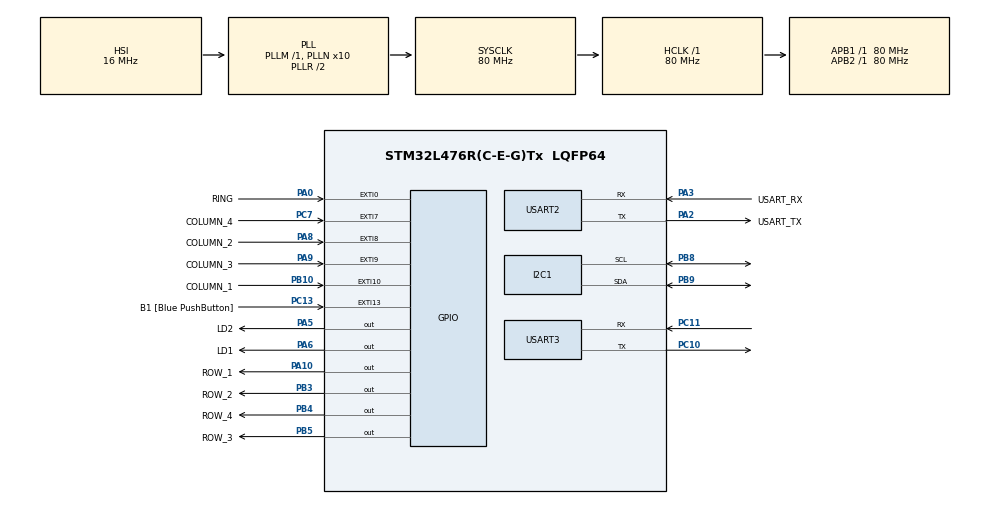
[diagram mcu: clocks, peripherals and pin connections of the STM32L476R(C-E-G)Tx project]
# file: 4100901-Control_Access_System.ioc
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I2C1.Timing=0x10D19CE4
Mcu.Family=STM32L4
Mcu.Name=STM32L476R(C-E-G)Tx
Mcu.Package=LQFP64
NVIC.EXTI0_IRQn=true\:0\:0\:false\:false\:true\:true\:true\:true
NVIC.EXTI15_10_IRQn=true\:1\:0\:true\:false\:true\:true\:true\:true
NVIC.EXTI9_5_IRQn=true\:1\:0\:true\:false\:true\:true\:true\:true
NVIC.PriorityGroup=NVIC_PRIORITYGROUP_4
NVIC.USART2_IRQn=true\:0\:0\:false\:false\:true\:true\:true\:true
NVIC.USART3_IRQn=true\:0\:0\:false\:false\:true\:true\:true\:true
PA0.GPIO_Label=RING
PA0.GPIO_PuPd=GPIO_PULLDOWN
PA0.Signal=GPXTI0
PA10.GPIO_Label=ROW_1
PA10.GPIO_ModeDefaultOutputPP=GPIO_MODE_OUTPUT_OD
PA10.GPIO_PuPd=GPIO_NOPULL
PA10.GPIO_Speed=GPIO_SPEED_FREQ_VERY_HIGH
PA10.PinState=GPIO_PIN_RESET
PA10.Signal=GPIO_Output
PA13\ (JTMS-SWDIO).GPIO_Label=TMS
PA13\ (JTMS-SWDIO).Mode=Serial_Wire
PA13\ (JTMS-SWDIO).Signal=SYS_JTMS-SWDIO
PA14\ (JTCK-SWCLK).GPIO_Label=TCK
PA14\ (JTCK-SWCLK).Mode=Serial_Wire
PA14\ (JTCK-SWCLK).Signal=SYS_JTCK-SWCLK
PA2.GPIO_Label=USART_TX
PA2.GPIO_Mode=GPIO_MODE_AF_PP
PA2.GPIO_PuPd=GPIO_NOPULL
PA2.GPIO_Speed=GPIO_SPEED_FREQ_VERY_HIGH
PA2.Mode=Asynchronous
PA2.Signal=USART2_TX
PA3.GPIO_Label=USART_RX
PA3.GPIO_Mode=GPIO_MODE_AF_PP
PA3.GPIO_PuPd=GPIO_NOPULL
PA3.GPIO_Speed=GPIO_SPEED_FREQ_VERY_HIGH
PA3.Mode=Asynchronous
PA3.Signal=USART2_RX
PA5.GPIO_Label=LD2
PA5.GPIO_ModeDefaultOutputPP=GPIO_MODE_OUTPUT_PP
PA5.GPIO_PuPd=GPIO_NOPULL
PA5.GPIO_Speed=GPIO_SPEED_FREQ_LOW
PA5.Signal=GPIO_Output
PA6.GPIO_Label=LD1
PA6.Signal=GPIO_Output
PA8.GPIO_Label=COLUMN_2
PA8.GPIO_ModeDefaultEXTI=GPIO_MODE_IT_FALLING
PA8.GPIO_PuPd=GPIO_PULLUP
PA8.Signal=GPXTI8
PA9.GPIO_Label=COLUMN_3
PA9.GPIO_ModeDefaultEXTI=GPIO_MODE_IT_FALLING
PA9.GPIO_PuPd=GPIO_PULLUP
PA9.Signal=GPXTI9
PB10.GPIO_Label=COLUMN_1
PB10.GPIO_ModeDefaultEXTI=GPIO_MODE_IT_FALLING
PB10.GPIO_PuPd=GPIO_PULLUP
PB10.Signal=GPXTI10
PB3\ (JTDO-TRACESWO).GPIO_Label=ROW_2
PB3\ (JTDO-TRACESWO).GPIO_ModeDefaultOutputPP=GPIO_MODE_OUTPUT_OD
PB3\ (JTDO-TRACESWO).GPIO_PuPd=GPIO_NOPULL
PB3\ (JTDO-TRACESWO).GPIO_Speed=GPIO_SPEED_FREQ_VERY_HIGH
PB3\ (JTDO-TRACESWO).PinState=GPIO_PIN_RESET
PB3\ (JTDO-TRACESWO).Signal=GPIO_Output
PB4\ (NJTRST).GPIO_Label=ROW_4
PB4\ (NJTRST).GPIO_ModeDefaultOutputPP=GPIO_MODE_OUTPUT_OD
PB4\ (NJTRST).GPIO_PuPd=GPIO_NOPULL
PB4\ (NJTRST).GPIO_Speed=GPIO_SPEED_FREQ_VERY_HIGH
PB4\ (NJTRST).PinState=GPIO_PIN_RESET
PB4\ (NJTRST).Signal=GPIO_Output
PB5.GPIO_Label=ROW_3
PB5.GPIO_ModeDefaultOutputPP=GPIO_MODE_OUTPUT_OD
PB5.GPIO_PuPd=GPIO_NOPULL
PB5.GPIO_Speed=GPIO_SPEED_FREQ_VERY_HIGH
PB5.PinState=GPIO_PIN_RESET
PB5.Signal=GPIO_Output
PB8.Mode=I2C
PB8.Signal=I2C1_SCL
PB9.Mode=I2C
PB9.Signal=I2C1_SDA
PC10.Mode=Asynchronous
PC10.Signal=USART3_TX
PC11.Mode=Asynchronous
PC11.Signal=USART3_RX
PC13.GPIO_Label=B1 [Blue PushButton]
PC13.GPIO_ModeDefaultEXTI=GPIO_MODE_IT_FALLING
PC13.GPIO_PuPd=GPIO_NOPULL
PC13.Signal=GPXTI13
PC14-OSC32_IN\ (PC14).Mode=LSE-External-Oscillator
PC14-OSC32_IN\ (PC14).Signal=RCC_OSC32_IN
PC15-OSC32_OUT\ (PC15).Mode=LSE-External-Oscillator
PC15-OSC32_OUT\ (PC15).Signal=RCC_OSC32_OUT
PC7.GPIO_Label=COLUMN_4
PC7.GPIO_ModeDefaultEXTI=GPIO_MODE_IT_FALLING
PC7.GPIO_PuPd=GPIO_PULLUP
PC7.Signal=GPXTI7
PH0-OSC_IN\ (PH0).Signal=RCC_OSC_IN
PH1-OSC_OUT\ (PH1).Signal=RCC_OSC_OUT
ProjectManager.HeapSize=0x200
ProjectManager.StackSize=0x400
ProjectManager.TargetToolchain=CMake
RCC.ADCFreq_Value=64000000
RCC.AHBFreq_Value=80000000
RCC.APB1Freq_Value=80000000
RCC.APB1TimFreq_Value=80000000
RCC.APB2Freq_Value=80000000
RCC.APB2TimFreq_Value=80000000
RCC.CortexFreq_Value=80000000
RCC.HCLKFreq_Value=80000000
RCC.HSE_VALUE=8000000
RCC.HSI_VALUE=16000000
RCC.MSI_VALUE=4000000
RCC.PLLN=10
RCC.PLLSourceVirtual=RCC_PLLSOURCE_HSI
RCC.PREFETCH_ENABLE=1
RCC.SYSCLKFreq_VALUE=80000000
RCC.SYSCLKSource=RCC_SYSCLKSOURCE_PLLCLK
RCC.USBFreq_Value=64000000
RCC.VCOOutputFreq_Value=160000000
USART2.VirtualMode-Asynchronous=VM_ASYNC
USART3.VirtualMode-Asynchronous=VM_ASYNC
board=NUCLEO-L476RG

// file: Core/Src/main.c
/* USER CODE BEGIN Header */
/**
  ******************************************************************************
  * @file           : main.c
  * @brief          : Main program body
  ******************************************************************************
  * @attention
  *
  * Copyright (c) 2025 STMicroelectronics.
  * All rights reserved.
  *
  * This software is licensed under terms that can be found in the LICENSE file
  * in the root directory of this software component.
  * If no LICENSE file comes with this software, it is provided AS-IS.
  *
  ******************************************************************************
  */
/* USER CODE END Header */
#include "main.h"

/* USER CODE BEGIN Includes */
#include <stdio.h>
#include <string.h>
#include "keypad.h"
#include "ssd1306.h"
#include "ssd1306_fonts.h"
#include "locked.h"
#include "unlocked.h"
#include "ring_buffer.h"

/* USER CODE END Includes */

/* USER CODE BEGIN PM */
#define FW_VERSION "0.1.0"
/* USER CODE END PM */

I2C_HandleTypeDef hi2c1;

UART_HandleTypeDef huart2;
UART_HandleTypeDef huart3;

/* USER CODE BEGIN PV */
uint16_t keypad_colum_pressed = 0;
uint32_t key_pressed_tick = 0;
uint8_t b1_press_count = 0;

uint8_t pc_rx_data[3];
ring_buffer_t pc_rx_buffer;

uint8_t keypad_rx_data[3];
ring_buffer_t keypad_rx_buffer;

uint8_t internet_rx_data[3];
ring_buffer_t internet_rx_buffer;

extern char state[3];
char state[3] = "Cl";
extern int control_uart2 = 0;
extern int control_uart3 = 0;

extern uint8_t internet_key;
extern uint8_t pc_key;
uint8_t key;
/* USER CODE END PV */

void SystemClock_Config(void);
static void MX_GPIO_Init(void);
static void MX_USART2_UART_Init(void);
static void MX_USART3_UART_Init(void);
static void MX_I2C1_Init(void);

/* USER CODE BEGIN 0 */
void low_power_sleep_mode(void) {
  HAL_SuspendTick(); // Detener el SysTick para reducir consumo
  HAL_PWR_EnterSLEEPMode(PWR_MAINREGULATOR_ON, PWR_SLEEPENTRY_WFI);
  HAL_ResumeTick(); // Restaurar el SysTick después de salir del Sleep Mode
}

int system_events_handler(char *event)
{
  if (strcmp(event, "Op") == 0) {
    return 2;
  }
  else if (strcmp(event, "To") == 0) {
    return 1;
  }
  else if (strcmp(event, "Cl") == 0) {
    return 0;
  }
  return -1; // Return a default value if no condition is met
}
void system_state_machine(char *states)
{
  int state = system_events_handler(states);
  switch (state)
  {
    case 0: // Door closed
      //HAL_UART_Transmit(&huart2, (uint8_t *)"Door closed\r\n", 13, 100);
      break;
    case 1: // Door temporarily opened;
      //HAL_UART_Transmit(&huart2, (uint8_t *)"Door temporarily opened\r\n", 25, 100);
      break;
    case 2: // Door permanent opened
       //HAL_UART_Transmit(&huart2, (uint8_t *)"Door opened\r\n", 13, 100);
      break;
    default:
      break;
  }
}

void HAL_GPIO_EXTI_Callback(uint16_t GPIO_Pin) {
  if (GPIO_Pin == B1_Pin) { // Botón
      int press_type = detect_button_press();

      if (press_type == 1) { // Un solo clic
          if (strcmp(state, "Cl") == 0) {
              strcpy(state, "Op");
              HAL_UART_Transmit(&huart2, (uint8_t *)"Puerta Abierta\r\n", 17, 100);
              HAL_GPIO_WritePin(LD2_GPIO_Port, LD2_Pin, GPIO_PIN_SET);
              ssd1306_Fill(Black);
              ssd1306_DrawBitmap(0, 0, unlocked, 128, 64, White);
              ssd1306_UpdateScreen();
          } else {
              strcpy(state, "Cl");
              HAL_UART_Transmit(&huart2, (uint8_t *)"Puerta Cerrada\r\n", 17, 100);
              HAL_GPIO_WritePin(LD2_GPIO_Port, LD2_Pin, GPIO_PIN_RESET);
              ssd1306_Fill(Black);
              ssd1306_DrawBitmap(0, 0, locked, 128, 64, White);
              ssd1306_UpdateScreen();
          }
      } else if (press_type == 2) { // Doble clic
          strcpy(state, "To"); // Temporalmente abierta
          HAL_UART_Transmit(&huart2, (uint8_t *)"Puerta Abierta Temporalmente\r\n", 31, 100);
          HAL_GPIO_WritePin(LD2_GPIO_Port, LD2_Pin, GPIO_PIN_SET);
          ssd1306_Fill(Black);
          ssd1306_DrawBitmap(0, 0, unlocked, 128, 64, White);
          ssd1306_UpdateScreen();

          HAL_Delay(3000); // Mantener la puerta abierta por 3 segundos

          strcpy(state, "Cl");
          HAL_UART_Transmit(&huart2, (uint8_t *)"Puerta Cerrada\r\n", 17, 100);
          HAL_GPIO_WritePin(LD2_GPIO_Port, LD2_Pin, GPIO_PIN_RESET);
          ssd1306_Fill(Black);
          ssd1306_DrawBitmap(0, 0, locked, 128, 64, White);
          ssd1306_UpdateScreen();
      }
  } else { // Keypad
      keypad_colum_pressed = GPIO_Pin;
  }
}

void HAL_UART_RxCpltCallback(UART_HandleTypeDef *huart)
{
  if (huart->Instance == USART2) {
    pc_key = pc_rx_data[0]; // Guardar el primer byte en pc_key
    ring_buffer_write(&pc_rx_buffer, pc_rx_data[0]); // Guardar en el buffer
    HAL_UART_Receive_IT(&huart2, pc_rx_data, sizeof(pc_rx_data)); // Reiniciar la recepción
    control_uart2 = 1;
  }
  else if (huart->Instance == USART3) {
    internet_key = internet_rx_data[0]; // Guardar el primer byte en internet_key
    ring_buffer_write(&internet_rx_buffer, internet_key); // Almacenar en el ring buffer
    HAL_UART_Receive_IT(&huart3, internet_rx_data, sizeof(internet_rx_data)); // Reiniciar la recepción
    control_uart3 = 1;
  }
}

int main(void)
{
  HAL_Init();
  SystemClock_Config();

  MX_GPIO_Init();
  MX_USART2_UART_Init();
  MX_USART3_UART_Init();
  MX_I2C1_Init();

  // Iniciar recepción UART2 y UART3
  HAL_UART_Receive_IT(&huart2, pc_rx_data, sizeof(pc_rx_data));
  HAL_UART_Receive_IT(&huart3, internet_rx_data, sizeof(internet_rx_data));

  // Inicializar ring buffers
  ring_buffer_init(&pc_rx_buffer, pc_rx_data, sizeof(pc_rx_data));
  ring_buffer_init(&internet_rx_buffer, internet_rx_data, sizeof(internet_rx_data));

  while (1) {
    // Código principal
  }
}

/**
 * @brief  Heartbeat function to blink LED2 every 1 second to indicate the system is running
*/
void heartbeat(void)
{
  static uint32_t last_heartbeat = 0;
  if (HAL_GetTick() - last_heartbeat > 1000)
  {
    last_heartbeat = HAL_GetTick();
    HAL_GPIO_TogglePin(LD1_GPIO_Port, LD1_Pin);
  }
}

/**
 * @brief  Retargets the C library printf function to the USART.
*/
int _write(int file, char *ptr, int len)
{
  (void)file;
  HAL_UART_Transmit(&huart2, (uint8_t *)ptr, len, 10);
  return len;
}

void OLED_Printer(ring_buffer_t *rb, uint8_t *buffer, char *state)
{
  (void)rb;
  if(strcmp((char *)buffer, "#D#") == 0 )
  {
    HAL_GPIO_WritePin(LD2_GPIO_Port, LD2_Pin, GPIO_PIN_SET);
    ssd1306_Fill(Black);
    ssd1306_DrawBitmap(0, 0, unlocked, 128, 64, White);
    ssd1306_UpdateScreen();

    HAL_Delay(3000); // Mantener la puerta abierta por 3 segundos

    strcpy(state, "Cl");
    HAL_UART_Transmit(&huart2, (uint8_t *)"Puerta Cerrada\r\n", 17, 100);
    HAL_GPIO_WritePin(LD2_GPIO_Port, LD2_Pin, GPIO_PIN_RESET);
    ssd1306_Fill(Black);
    ssd1306_DrawBitmap(0, 0, locked, 128, 64, White);
    ssd1306_UpdateScreen();
  }

  if (strcmp((char *)buffer, "#0#") == 0)
  {
    if (strcmp(state, "Op") == 0)
    {
      ssd1306_Fill(Black);
      ssd1306_SetCursor(0, 0);
      ssd1306_WriteString("Puerta ya esta abierta", Font_7x10, White);
      ssd1306_UpdateScreen();
      HAL_Delay(2000);
      ssd1306_Fill(Black);
      ssd1306_DrawBitmap(0, 0, unlocked, 128, 64, White);
      ssd1306_UpdateScreen();
    }
    else
    {
      ssd1306_Fill(Black);
      ssd1306_SetCursor(0, 0);
      ssd1306_WriteString("Door: Op", Font_7x10, White);
      ssd1306_UpdateScreen();
      HAL_Delay(2000);
      ssd1306_Fill(Black);
      ssd1306_DrawBitmap(0, 0, unlocked, 128, 64, White);
      ssd1306_UpdateScreen();
   }
  }

 else if (strcmp((char *)buffer, "#C#") == 0)
 {
  if (strcmp(state, "Cl") == 0)
  {
    ssd1306_Fill(Black);
    ssd1306_SetCursor(0, 0);
    ssd1306_WriteString("Puerta ya esta cerrada", Font_7x10, White);
    ssd1306_UpdateScreen();
    HAL_Delay(2000);
    ssd1306_Fill(Black);
    ssd1306_DrawBitmap(0, 0, locked, 128, 64, White);
    ssd1306_UpdateScreen();
  }
  else
  {
    ssd1306_Fill(Black);
    ssd1306_SetCursor(0, 0);
    ssd1306_WriteString("Door: Cl", Font_7x10, White);
    ssd1306_UpdateScreen();
    HAL_Delay(2000);
    ssd1306_Fill(Black);
    ssd1306_DrawBitmap(0, 0, locked, 128, 64, White);
    ssd1306_UpdateScreen();
  }
 }
}

void process_command(ring_buffer_t *rb, uint8_t *buffer, char *state) {
  if (ring_buffer_size(rb) == 3) {  // Verifica si el comando es de longitud 5
      // Lee el comando completo del buffer
      for (int i = 0; i < 3; i++) {
          ring_buffer_read(rb, &buffer[i]);
      }
      buffer[3] = '\0';  // Asegura el término del string

      // Procesa el comando basado en su contenido
      if (strcmp((char *)buffer, "#D#") == 0) {
        HAL_UART_Transmit(&huart2, (uint8_t *)"Puerta Abierta Temporalmente\r\n", 31, 100);
        OLED_Printer(rb, buffer, state);
        strcpy(state, "To"); // Temporalmente abierta
      }
      if (strcmp((char *)buffer, "#0#") == 0) {
        if (strcmp(state, "Op") == 0) {
            HAL_UART_Transmit(&huart2, (uint8_t *)"Puerta ya esta abierta\r\n", 26, 100);
            OLED_Printer(rb, buffer, state);
        } else {
            HAL_GPIO_TogglePin(LD2_GPIO_Port, LD2_Pin);  // Cambia el estado del LED
            HAL_UART_Transmit(&huart2, (uint8_t *)"Puerta Abierta\r\n", 17, 100);
            OLED_Printer(rb, buffer, state);
            strcpy(state, "Op");
        }
      }
      else if (strcmp((char *)buffer, "#C#") == 0) {
          if (strcmp(state, "Cl") == 0) {
              HAL_UART_Transmit(&huart2, (uint8_t *)"Puerta ya esta cerrada\r\n", 27, 100);
              OLED_Printer(rb, buffer, state);
          } else {
              HAL_GPIO_TogglePin(LD2_GPIO_Port, LD2_Pin);  // Cambia el estado del LED
              HAL_UART_Transmit(&huart2, (uint8_t *)"Puerta Cerrada\r\n", 17, 100);
              OLED_Printer(rb, buffer, state);
              strcpy(state, "Cl");
          }
      }

      else if (strcmp((char *)buffer, "#1#") == 0) {
          HAL_UART_Transmit(&huart2, (uint8_t *)"Buffer limpiado y puerta cerrada\r\n", 38, 100);
          ring_buffer_reset(rb);
          OLED_Printer(rb, buffer, state);
          strcpy(state, "Cl");
          HAL_GPIO_TogglePin(LD2_GPIO_Port, LD2_Pin);
          HAL_Delay(500);
          HAL_GPIO_TogglePin(LD2_GPIO_Port, LD2_Pin);
          HAL_Delay(500);
          HAL_GPIO_TogglePin(LD2_GPIO_Port, LD2_Pin);
          HAL_Delay(500);
          HAL_GPIO_WritePin(LD2_GPIO_Port, LD2_Pin, GPIO_PIN_RESET);
      }

      else {
          HAL_UART_Transmit(&huart2, (uint8_t *)"Comando no reconocido\r\n", 24, 100);
          if (strcmp(state, "Cl") == 0) {
              ssd1306_Fill(Black);
              ssd1306_SetCursor(0, 0);
              ssd1306_WriteString((char *)"Comand unknown", Font_7x10, White);
              ssd1306_UpdateScreen();
              HAL_Delay(2000);
              ssd1306_Fill(Black);
              ssd1306_DrawBitmap(0, 0, locked, 128, 64, White);
              ssd1306_UpdateScreen();
          } else {
              ssd1306_Fill(Black);
              ssd1306_SetCursor(0, 0);
              ssd1306_WriteString((char *)"Comand unknown", Font_7x10, White);
              ssd1306_UpdateScreen();
              HAL_Delay(2000);
              ssd1306_Fill(Black);
              ssd1306_DrawBitmap(0, 0, unlocked, 128, 64, White);
              ssd1306_UpdateScreen();
          }
      }

      // Reinicia el buffer de comando
      for (int i = 0; i < 3; i++) {
          buffer[i] = '_';
      }
  }
}
/* USER CODE END 0 */

int main(void)
{

  /* MCU Configuration--------------------------------------------------------*/

  /* Reset of all peripherals, Initializes the Flash interface and the Systick. */
  HAL_Init();

  /* Configure the system clock */
  SystemClock_Config();

  /* Initialize all configured peripherals */
  MX_GPIO_Init();
  MX_USART2_UART_Init();
  MX_USART3_UART_Init();
  MX_I2C1_Init();
  /* USER CODE BEGIN 2 */
  ring_buffer_init(&pc_rx_buffer, pc_rx_data, sizeof(pc_rx_data));
  ring_buffer_init(&keypad_rx_buffer, keypad_rx_data, sizeof(keypad_rx_data));
  ring_buffer_init(&internet_rx_buffer, internet_rx_data, sizeof(internet_rx_data));
  setvbuf(stdout, NULL, _IONBF, 0);  // Desactiva el buffer de stdout

  HAL_UART_Receive_IT(&huart2, pc_rx_data, sizeof(pc_rx_data));
  HAL_UART_Receive_IT(&huart3, internet_rx_data, sizeof(internet_rx_data));

  keypad_init();
  HAL_UART_Transmit(&huart2, (uint8_t *)"Hello World\r\n\0", 20, 100);  // Envía el mensaje "Hello World"
  ssd1306_WriteString("Door default: Cl", Font_7x10, White);
  HAL_Delay(2000); //
  ssd1306_Init();
  ssd1306_Fill(Black);
  ssd1306_DrawBitmap(0, 0, locked, 128, 64, White);
  ssd1306_UpdateScreen();

  uint8_t pc_key;
  uint8_t key;

  for (size_t i = 0; i < sizeof(keypad_rx_data); i++) {
    keypad_rx_data[i] = '_';
    pc_rx_data[i] = '_';
  }
  /* USER CODE END 2 */

  /* Infinite loop */
  /* USER CODE BEGIN WHILE */
  while (1) {
    heartbeat();

    if (keypad_colum_pressed != 0 && (key_pressed_tick + 5) < HAL_GetTick()) {
      key = keypad_scan(keypad_colum_pressed);
      keypad_colum_pressed = 0;
      if (key != 'E') {
        ring_buffer_write(&keypad_rx_buffer, key);
        uint8_t size = ring_buffer_size(&keypad_rx_buffer);
        char msg[45];
        snprintf(msg, sizeof(msg), "Key: %c, Buffer: %s, Size: %d\r\n", key, keypad_rx_data, size);
        HAL_UART_Transmit(&huart2, (uint8_t *)msg, strlen(msg), 100);
      }
      // Procesa teclas recibidas desde la PC
    }
    if (control_uart2 == 1) {
      uint8_t size = ring_buffer_size(&pc_rx_buffer);
      char msg[45];
      snprintf(msg, sizeof(msg), "PC Key: %c, Buffer: %s, Size: %d\r\n", pc_key, pc_rx_data, size);
      HAL_UART_Transmit(&huart2, (uint8_t *)msg, strlen(msg), 100);
      control_uart2 = 0;
    }
    if (control_uart3 == 1) {
      uint8_t size = ring_buffer_size(&internet_rx_buffer);
      char msg[45];
      snprintf(msg, sizeof(msg), "TL Key: %c, Buffer: %s, Size: %d\r\n", internet_key, internet_rx_data, size);
      HAL_UART_Transmit(&huart2, (uint8_t *)msg, strlen(msg), 100);
      control_uart3 = 0;
    }
    process_command(&keypad_rx_buffer, keypad_rx_data, state);
    process_command(&pc_rx_buffer, pc_rx_data, state);
    process_command(&internet_rx_buffer, internet_rx_data, state);
    /* USER CODE END WHILE */

    /* USER CODE BEGIN 3 */
    system_state_machine((char *)state);
    HAL_Delay(100);

    #if LOW_POWER_MODE
      low_power_sleep_mode();
    #endif
  }
  /* USER CODE END 3 */
}

void SystemClock_Config(void)
{
  RCC_OscInitTypeDef RCC_OscInitStruct = {0};
  RCC_ClkInitTypeDef RCC_ClkInitStruct = {0};

  /** Configure the main internal regulator output voltage
  */
  if (HAL_PWREx_ControlVoltageScaling(PWR_REGULATOR_VOLTAGE_SCALE1) != HAL_OK)
  {
    Error_Handler();
  }

  /** Initializes the RCC Oscillators according to the specified parameters
  * in the RCC_OscInitTypeDef structure.
  */
  RCC_OscInitStruct.OscillatorType = RCC_OSCILLATORTYPE_HSI;
  RCC_OscInitStruct.HSIState = RCC_HSI_ON;
  RCC_OscInitStruct.HSICalibrationValue = RCC_HSICALIBRATION_DEFAULT;
  RCC_OscInitStruct.PLL.PLLState = RCC_PLL_ON;
  RCC_OscInitStruct.PLL.PLLSource = RCC_PLLSOURCE_HSI;
  RCC_OscInitStruct.PLL.PLLM = 1;
  RCC_OscInitStruct.PLL.PLLN = 10;
  RCC_OscInitStruct.PLL.PLLP = RCC_PLLP_DIV7;
  RCC_OscInitStruct.PLL.PLLQ = RCC_PLLQ_DIV2;
  RCC_OscInitStruct.PLL.PLLR = RCC_PLLR_DIV2;
  if (HAL_RCC_OscConfig(&RCC_OscInitStruct) != HAL_OK)
  {
    Error_Handler();
  }

  /** Initializes the CPU, AHB and APB buses clocks
  */
  RCC_ClkInitStruct.ClockType = RCC_CLOCKTYPE_HCLK|RCC_CLOCKTYPE_SYSCLK
                              |RCC_CLOCKTYPE_PCLK1|RCC_CLOCKTYPE_PCLK2;
  RCC_ClkInitStruct.SYSCLKSource = RCC_SYSCLKSOURCE_PLLCLK;
  RCC_ClkInitStruct.AHBCLKDivider = RCC_SYSCLK_DIV1;
  RCC_ClkInitStruct.APB1CLKDivider = RCC_HCLK_DIV1;
  RCC_ClkInitStruct.APB2CLKDivider = RCC_HCLK_DIV1;

  if (HAL_RCC_ClockConfig(&RCC_ClkInitStruct, FLASH_LATENCY_4) != HAL_OK)
  {
    Error_Handler();
  }
}

static void MX_I2C1_Init(void)
{

  hi2c1.Instance = I2C1;
  hi2c1.Init.Timing = 0x10D19CE4;
  hi2c1.Init.OwnAddress1 = 0;
  hi2c1.Init.AddressingMode = I2C_ADDRESSINGMODE_7BIT;
  hi2c1.Init.DualAddressMode = I2C_DUALADDRESS_DISABLE;
  hi2c1.Init.OwnAddress2 = 0;
  hi2c1.Init.OwnAddress2Masks = I2C_OA2_NOMASK;
  hi2c1.Init.GeneralCallMode = I2C_GENERALCALL_DISABLE;
  hi2c1.Init.NoStretchMode = I2C_NOSTRETCH_DISABLE;
  if (HAL_I2C_Init(&hi2c1) != HAL_OK)
  {
    Error_Handler();
  }

  /** Configure Analogue filter
  */
  if (HAL_I2CEx_ConfigAnalogFilter(&hi2c1, I2C_ANALOGFILTER_ENABLE) != HAL_OK)
  {
    Error_Handler();
  }

  /** Configure Digital filter
  */
  if (HAL_I2CEx_ConfigDigitalFilter(&hi2c1, 0) != HAL_OK)
  {
    Error_Handler();
  }

}

static void MX_USART2_UART_Init(void)
{

  huart2.Instance = USART2;
  huart2.Init.BaudRate = 115200;
  huart2.Init.WordLength = UART_WORDLENGTH_8B;
  huart2.Init.StopBits = UART_STOPBITS_1;
  huart2.Init.Parity = UART_PARITY_NONE;
  huart2.Init.Mode = UART_MODE_TX_RX;
  huart2.Init.HwFlowCtl = UART_HWCONTROL_NONE;
  huart2.Init.OverSampling = UART_OVERSAMPLING_16;
  huart2.Init.OneBitSampling = UART_ONE_BIT_SAMPLE_DISABLE;
  huart2.AdvancedInit.AdvFeatureInit = UART_ADVFEATURE_NO_INIT;
  if (HAL_UART_Init(&huart2) != HAL_OK)
  {
    Error_Handler();
  }

}

static void MX_USART3_UART_Init(void)
{

  huart3.Instance = USART3;
  huart3.Init.BaudRate = 115200;
  huart3.Init.WordLength = UART_WORDLENGTH_8B;
  huart3.Init.StopBits = UART_STOPBITS_1;
  huart3.Init.Parity = UART_PARITY_NONE;
  huart3.Init.Mode = UART_MODE_TX_RX;
  huart3.Init.HwFlowCtl = UART_HWCONTROL_NONE;
  huart3.Init.OverSampling = UART_OVERSAMPLING_16;
  huart3.Init.OneBitSampling = UART_ONE_BIT_SAMPLE_DISABLE;
  huart3.AdvancedInit.AdvFeatureInit = UART_ADVFEATURE_NO_INIT;
  if (HAL_UART_Init(&huart3) != HAL_OK)
  {
    Error_Handler();
  }

}

static void MX_GPIO_Init(void)
{
  GPIO_InitTypeDef GPIO_InitStruct = {0};

  /* GPIO Ports Clock Enable */
  __HAL_RCC_GPIOC_CLK_ENABLE();
  __HAL_RCC_GPIOH_CLK_ENABLE();
  __HAL_RCC_GPIOA_CLK_ENABLE();
  __HAL_RCC_GPIOB_CLK_ENABLE();

  /*Configure GPIO pin Output Level */
  HAL_GPIO_WritePin(GPIOA, LD2_Pin|LD1_Pin|ROW_1_Pin, GPIO_PIN_RESET);

  /*Configure GPIO pin Output Level */
  HAL_GPIO_WritePin(GPIOB, ROW_2_Pin|ROW_4_Pin|ROW_3_Pin, GPIO_PIN_RESET);

  /*Configure GPIO pin : B1_Pin */
  GPIO_InitStruct.Pin = B1_Pin;
  GPIO_InitStruct.Mode = GPIO_MODE_IT_FALLING;
  GPIO_InitStruct.Pull = GPIO_NOPULL;
  HAL_GPIO_Init(B1_GPIO_Port, &GPIO_InitStruct);

  /*Configure GPIO pin : RING_Pin */
  GPIO_InitStruct.Pin = RING_Pin;
  GPIO_InitStruct.Mode = GPIO_MODE_IT_RISING;
  GPIO_InitStruct.Pull = GPIO_PULLDOWN;
  HAL_GPIO_Init(RING_GPIO_Port, &GPIO_InitStruct);

  /*Configure GPIO pins : LD2_Pin LD1_Pin */
  GPIO_InitStruct.Pin = LD2_Pin|LD1_Pin;
  GPIO_InitStruct.Mode = GPIO_MODE_OUTPUT_PP;
  GPIO_InitStruct.Pull = GPIO_NOPULL;
  GPIO_InitStruct.Speed = GPIO_SPEED_FREQ_LOW;
  HAL_GPIO_Init(GPIOA, &GPIO_InitStruct);

  /*Configure GPIO pin : COLUMN_1_Pin */
  GPIO_InitStruct.Pin = COLUMN_1_Pin;
  GPIO_InitStruct.Mode = GPIO_MODE_IT_FALLING;
  GPIO_InitStruct.Pull = GPIO_PULLUP;
  HAL_GPIO_Init(COLUMN_1_GPIO_Port, &GPIO_InitStruct);

  /*Configure GPIO pin : COLUMN_4_Pin */
  GPIO_InitStruct.Pin = COLUMN_4_Pin;
  GPIO_InitStruct.Mode = GPIO_MODE_IT_FALLING;
  GPIO_InitStruct.Pull = GPIO_PULLUP;
  HAL_GPIO_Init(COLUMN_4_GPIO_Port, &GPIO_InitStruct);

  /*Configure GPIO pins : COLUMN_2_Pin COLUMN_3_Pin */
  GPIO_InitStruct.Pin = COLUMN_2_Pin|COLUMN_3_Pin;
  GPIO_InitStruct.Mode = GPIO_MODE_IT_FALLING;
  GPIO_InitStruct.Pull = GPIO_PULLUP;
  HAL_GPIO_Init(GPIOA, &GPIO_InitStruct);

  /*Configure GPIO pin : ROW_1_Pin */
  GPIO_InitStruct.Pin = ROW_1_Pin;
  GPIO_InitStruct.Mode = GPIO_MODE_OUTPUT_OD;
  GPIO_InitStruct.Pull = GPIO_NOPULL;
  GPIO_InitStruct.Speed = GPIO_SPEED_FREQ_VERY_HIGH;
  HAL_GPIO_Init(ROW_1_GPIO_Port, &GPIO_InitStruct);

  /*Configure GPIO pins : ROW_2_Pin ROW_4_Pin ROW_3_Pin */
  GPIO_InitStruct.Pin = ROW_2_Pin|ROW_4_Pin|ROW_3_Pin;
  GPIO_InitStruct.Mode = GPIO_MODE_OUTPUT_OD;
  GPIO_InitStruct.Pull = GPIO_NOPULL;
  GPIO_InitStruct.Speed = GPIO_SPEED_FREQ_VERY_HIGH;
  HAL_GPIO_Init(GPIOB, &GPIO_InitStruct);

  /* EXTI interrupt init*/
  HAL_NVIC_SetPriority(EXTI0_IRQn, 0, 0);
  HAL_NVIC_EnableIRQ(EXTI0_IRQn);

  HAL_NVIC_SetPriority(EXTI9_5_IRQn, 1, 0);
  HAL_NVIC_EnableIRQ(EXTI9_5_IRQn);

  HAL_NVIC_SetPriority(EXTI15_10_IRQn, 1, 0);
  HAL_NVIC_EnableIRQ(EXTI15_10_IRQn);

}

void Error_Handler(void)
{
  __disable_irq();
  while (1)
  {
  }
}
